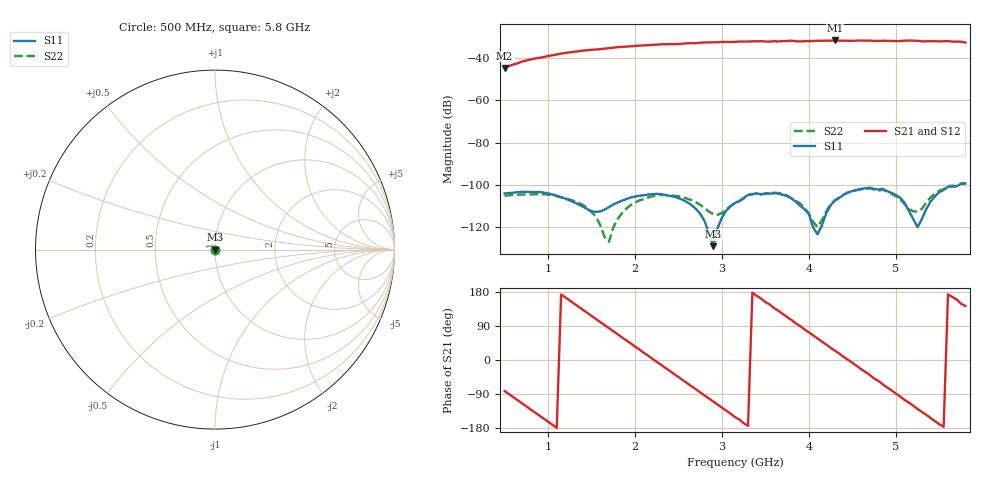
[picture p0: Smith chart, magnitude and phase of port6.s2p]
# GHZ S RI R 50
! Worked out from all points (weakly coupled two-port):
!   107 points, 500 MHz to 5.8 GHz, reference 50 ohm
!   highest |S21| = -31.64 dB at 4.3 GHz (marker M1); lowest = -44.7 dB at 500 MHz (marker M2)
!   lowest |S11| = -129.0 dB at 2.9 GHz (marker M3), VSWR 1.00, Z = 50 - j9.72e-06 ohm
!   |S11| at or under -10 dB: start of sweep to end of sweep
!   |S22| runs from -126.9 to -99.3 dB; largest |S21 - S12| = 0.00052
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0.5  5.3e-06 -3.4e-06  0.00081 -0.00578  0.000813 -0.00577  5.43e-06 -1.17e-06
0.7  2.39e-06 -6.45e-06  -0.00344 -0.00758  -0.00345 -0.00758  4.8e-06 -3.51e-06
0.85  -8.18e-07 -6.75e-06  -0.00735 -0.00651  -0.00734 -0.00651  3.33e-06 -5.03e-06
1.15  -3.98e-06 -3.21e-06  -0.0127 0.00162  -0.0127 0.00162  -5.34e-07 -5.06e-06
1.4  -2.86e-06 -1.1e-06  -0.0102 0.0111  -0.0102 0.0111  -2.31e-06 -2.46e-06
1.8  -2.5e-06 -2.91e-06  0.00681 0.0169  0.00683 0.0168  1.23e-06 -9.53e-07
2.3  -5.94e-06 9.08e-07  0.0208 -0.00469  0.0208 -0.00459  -2.12e-06 -5.39e-06
2.5  -3.84e-06 3e-06  0.0152 -0.0152  0.0152 -0.0152  -4.3e-06 -3.2e-06
2.9  -3.42e-07 -9.72e-08  -0.00802 -0.0224  -0.00797 -0.0224  -1.92e-06 -6.75e-07
3.15  -3.06e-06 -2.12e-06  -0.0211 -0.012  -0.0211 -0.0121  -2.24e-06 -3e-06
3.45  -5.85e-06 1.32e-06  -0.024 0.00763  -0.0238 0.00754  -5.82e-06 -1.47e-06
3.55  -5.18e-06 3.46e-06  -0.0205 0.0135  -0.0203 0.0137  -6.48e-06 6.11e-07
3.8  -1.63e-06 4.48e-06  -0.00698 0.025  -0.00709 0.0249  -3.89e-06 2.91e-06
3.9  -1.68e-07 3.2e-06  0.000241 0.0249  0.000319 0.0248  -2.07e-06 3e-06
4.05  -2.57e-07 9.39e-07  0.0108 0.0231  0.0109 0.023  -9.98e-07 8.56e-07
4.3  -4.31e-06 -4.21e-07  0.0238 0.0109  0.0238 0.0108  -3.79e-06 -2.05e-06
4.95  1.6e-06 6.28e-06  0.00434 -0.0252  0.00437 -0.0252  -2.65e-06 5.62e-06
5.15  2.16e-06 1.12e-06  -0.00998 -0.0242  -0.01 -0.0243  -1.1e-06 2.47e-06
5.3  -9.89e-07 -1.22e-06  -0.0182 -0.0169  -0.0184 -0.017  -2.71e-06 3.55e-07
5.6  -7.8e-06 4.53e-06  -0.0252 0.00298  -0.0251 0.00246  -8.1e-06 4.87e-06
5.75  -5.18e-06 9.42e-06  -0.0208 0.0127  -0.0211 0.0125  -5.87e-06 9.05e-06
5.8  -4.61e-06 9.86e-06  -0.0185 0.0143  -0.0182 0.0145  -5.38e-06 9.33e-06
